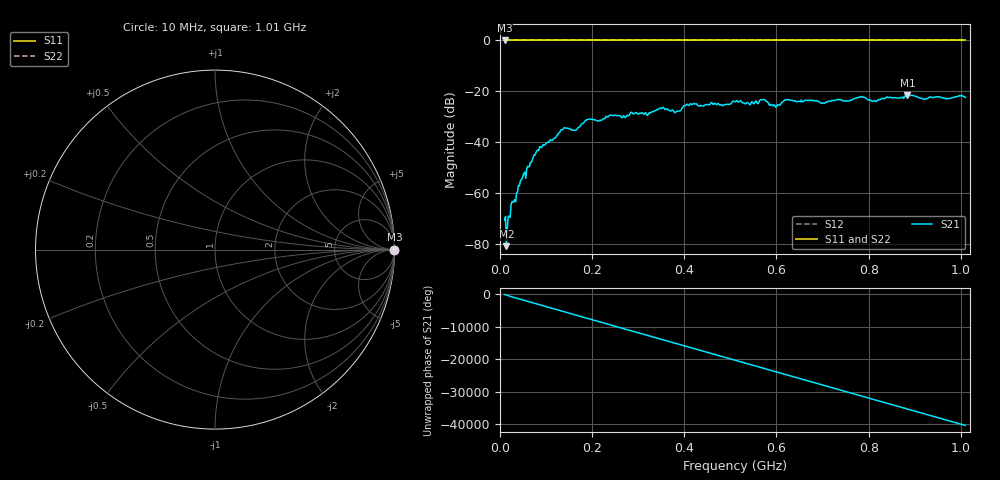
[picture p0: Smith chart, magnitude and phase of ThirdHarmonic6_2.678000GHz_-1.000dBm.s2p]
! 8/17/2025 6:16:42 AM
! C:\ANRITSUVNA\TEMP\TEMP.S2P
! CHANNEL.1
! TR.MEASUREMENT
! RAW.DATA
! RF.CORRECTION.OFF
! AVERAGING.OFF
! IF.BANDWIDTH: 5KHZ
! SWEEPTYPE:  FREQ.SWEEP(Linear)
! Reference Plane Port Info
! PORT:  PORT1  PORT2
! DISTANCE:  0  m  0  m
! TIME:  0  s  0  s
! PHASE.OFFSET:  0  deg.  0  deg.
! LOSS:  0  dB  0  dB
! REF.LOSS:  0  dB  0  dB
! REF.FREQ:  0  Hz  0  Hz
! Power Info
! POWER:  -20  dBm  -20  dBm
! EFF.POWER:  -20  dBm  -20  dBm
! SOURCE.ATTEN:  0  dB  0  dB
! TEST.ATTEN:  0  dB  0  dB
# GHZ S RI R 50.0
! FREQ.GHZ  S11RE  S11IM  S21RE  S21IM  S12RE  S12IM  S22RE  S22IM
!; PortSelection: Port_12
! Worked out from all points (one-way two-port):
!   501 points, 10 MHz to 1.01 GHz, reference 50 ohm
!   highest |S21| = -21.53 dB at 884 MHz (marker M1); lowest = -80.9 dB at 14 MHz (marker M2)
!   lowest |S11| = 0.0 dB at 10 MHz (marker M3)
!   |S11| at or under -10 dB: nowhere
!   |S22| runs from 0.0 to 0.0 dB; largest |S21 - S12| = 1.1
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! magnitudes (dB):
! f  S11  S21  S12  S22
! 10 MHz  0.0  -70.7  0.0  0.0
! 14 MHz  0.0  -80.9  0.0  0.0
! 18 MHz  0.0  -69.1  0.0  0.0
! 22 MHz  0.0  -69.6  0.0  0.0
! 28 MHz  0.0  -63.7  0.0  0.0
! 48 MHz  0.0  -54.4  0.0  0.0
! 82 MHz  0.0  -43.1  0.0  0.0
! 136 MHz  0.0  -35.0  0.0  0.0
! 162 MHz  0.0  -35.3  0.0  0.0
! 178 MHz  0.0  -32.7  0.0  0.0
! 192 MHz  0.0  -31.0  0.0  0.0
! 344 MHz  0.0  -27.1  0.0  0.0
! 382 MHz  0.0  -28.1  0.0  0.0
! 416 MHz  0.0  -25.3  0.0  0.0
! 510 MHz  0.0  -24.2  0.0  0.0
! 570 MHz  0.0  -23.3  0.0  0.0
! 596 MHz  0.0  -25.5  0.0  0.0
! 622 MHz  0.0  -23.3  0.0  0.0
! 678 MHz  0.0  -23.6  0.0  0.0
! 844 MHz  0.0  -22.5  0.0  0.0
! 884 MHz  0.0  -21.5  0.0  0.0
! 1.01 GHz  0.0  -22.4  0.0  0.0
